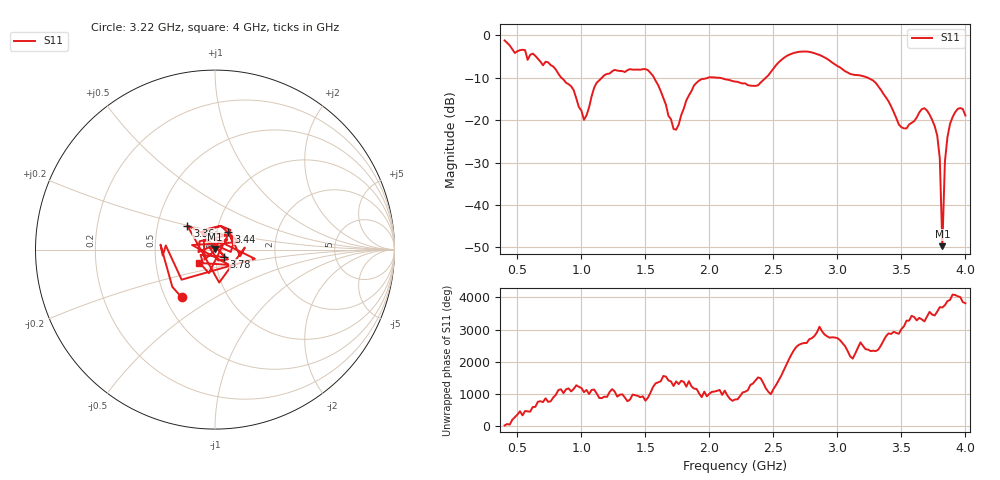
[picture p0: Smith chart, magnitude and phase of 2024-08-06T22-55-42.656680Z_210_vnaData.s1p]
!Created with skrf (http://scikit-rf.org).
# Hz S RI R 50.0
!freq ReS11 ImS11
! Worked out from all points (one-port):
!   181 points, 400 MHz to 4 GHz, reference 50 ohm
!   lowest |S11| = -49.7 dB at 3.82 GHz (marker M1), VSWR 1.01, Z = 50 + j0.327 ohm
!   |S11| at or under -10 dB: 1.568 GHz to 1.988 GHz (420 MHz wide, 23.6 % of centre); 2.081 GHz to 2.441 GHz (359.3 MHz wide, 15.9 % of centre); 3.238 GHz to end of sweep (the widest 3 of 4)
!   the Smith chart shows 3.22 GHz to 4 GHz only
!   S11 on the Smith chart (normalised r, x): 3.22 GHz: 0.61, -0.36; 3.36 GHz: 0.71, +0.20; 3.44 GHz: 1.14, +0.23; 3.78 GHz: 1.10, -0.09; 4 GHz: 0.83, -0.12
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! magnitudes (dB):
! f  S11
! 400 MHz  -1.2
! 860 MHz  -10.4
! 940 MHz  -12.9
! 1.02 GHz  -19.9
! 1.12 GHz  -11.1
! 1.3 GHz  -8.4
! 1.52 GHz  -8.2
! 1.6 GHz  -11.7
! 1.72 GHz  -22.1
! 1.76 GHz  -21.1
! 1.92 GHz  -10.6
! 2.2 GHz  -10.9
! 2.38 GHz  -11.8
! 2.66 GHz  -4.1
! 3.1 GHz  -9.1
! 3.22 GHz  -9.8
! 3.36 GHz  -13.8
! 3.44 GHz  -18.1
! 3.5 GHz  -21.6
! 3.56 GHz  -21.0
! 3.68 GHz  -17.2
! 3.78 GHz  -23.6
! 3.8 GHz  -29.0
! 3.82 GHz  -49.7
! 3.84 GHz  -29.7
! 3.86 GHz  -24.0
! 3.94 GHz  -17.3
! 4 GHz  -18.9
